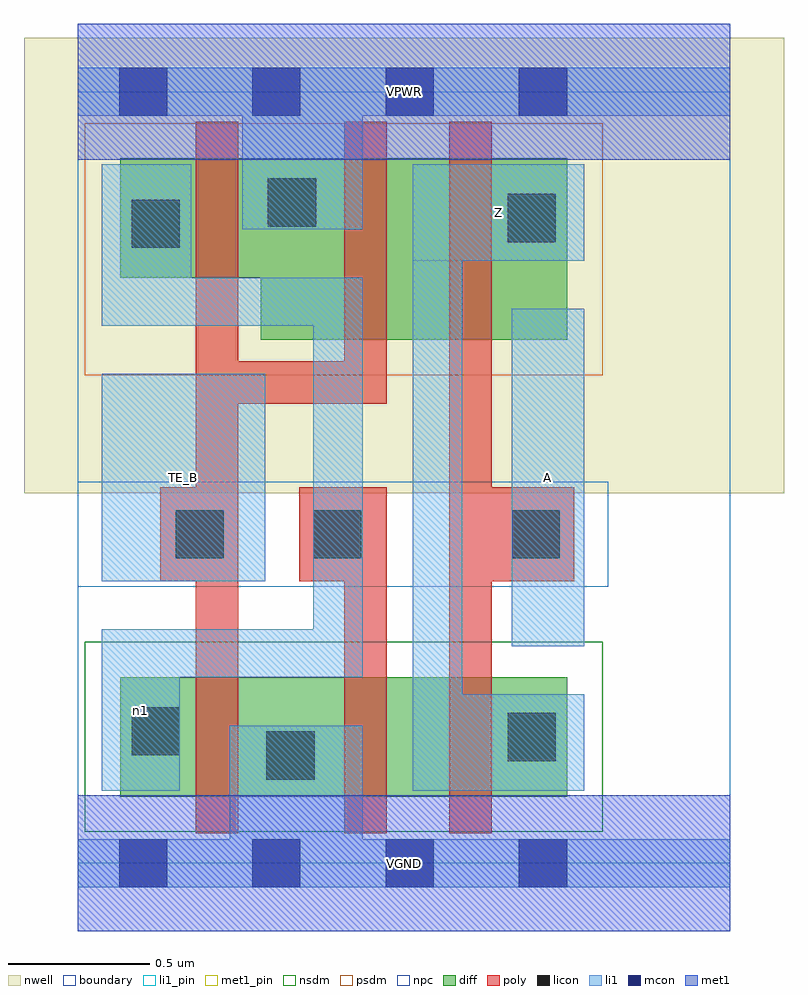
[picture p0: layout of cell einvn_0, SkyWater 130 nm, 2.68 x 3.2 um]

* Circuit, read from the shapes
.subckt einvn_0 A TE_B VGND VPWR Z n1
XM1 VGND TE_B n1 VSUBS sky130_fd_pr__nfet_01v8 w=0.42 l=0.15
XM2 n2 n1 VGND VSUBS sky130_fd_pr__nfet_01v8 w=0.42 l=0.15
XM3 Z A n2 VSUBS sky130_fd_pr__nfet_01v8 w=0.42 l=0.15
XM4 VPWR TE_B n1 n3 sky130_fd_pr__pfet_01v8 w=0.42 l=0.15
XM5 n4 TE_B VPWR n3 sky130_fd_pr__pfet_01v8 w=0.64 l=0.15
XM6 Z A n4 n3 sky130_fd_pr__pfet_01v8 w=0.64 l=0.15
.ends

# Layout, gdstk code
import gdstk
lib = gdstk.Library(unit=1e-6, precision=1e-09)
def R(c, l, rs):  # rectangles x0, y0, x1, y1
    for r in rs: c.add(gdstk.rectangle(r[:2], r[2:], *l))
def A(c, l, x, y, w, h, nx, ny, dx, dy):  # array of equal rectangles
    R(c, l, [(x+i*dx, y+j*dy, x+i*dx+w, y+j*dy+h) for i in range(nx) for j in range(ny)])
nwell = (64, 20)
diff = (65, 20)
poly = (66, 20)
licon = (66, 44)
li1_pin = (67, 16)
li1 = (67, 20)
mcon = (67, 44)
met1_pin = (68, 16)
met1 = (68, 20)
nsdm = (93, 44)
psdm = (94, 20)
npc = (95, 20)
boundary = (235, 4)

einvn_0 = lib.new_cell('einvn_0')
R(einvn_0, nwell, [(-0.19,1.305,2.49,2.91), (0,1.305,2.3,2.91)])
R(einvn_0, diff, [(0.15,0.235,1.725,0.655), (0.645,1.845,1.725,2.485), (0.15,2.065,1.725,2.485)])
R(einvn_0, poly, [(0.415,0.105,0.565,2.615), (0.94,0.105,1.09,1.325), (1.31,0.105,1.46,2.615), (0.29,0.995,0.565,1.325), (0.78,0.995,1.09,1.325), (1.31,0.995,1.75,1.325), (0.415,1.62,1.09,1.77), (0.94,1.62,1.09,2.615)])
R(einvn_0, licon, [(0.665,0.295,0.835,0.465), (1.515,0.36,1.685,0.53), (0.19,0.38,0.36,0.55), (0.345,1.075,0.515,1.245), (0.83,1.075,1,1.245), (1.53,1.075,1.7,1.245), (0.19,2.17,0.36,2.34), (1.515,2.19,1.685,2.36), (0.67,2.245,0.84,2.415)])
R(einvn_0, li1_pin, [(1.53,0.765,1.785,1.955), (0.085,0.995,0.66,1.725), (1.18,2.125,1.785,2.465)])
R(einvn_0, li1, [(0,-0.085,2.3,0.085), (0.535,-0.085,1.005,0.485), (0.085,0.255,0.36,0.825), (1.18,0.255,1.355,2.465), (1.18,0.255,1.785,0.595), (0.085,0.655,1.005,0.825), (0.83,0.655,1.005,2.065), (1.53,0.765,1.785,1.955), (0.085,0.995,0.66,1.725), (0.085,1.895,1.005,2.065), (0.085,1.895,0.4,2.465), (1.18,2.125,1.785,2.465), (0.58,2.235,1.005,2.805), (0,2.635,2.3,2.805)])
A(einvn_0, mcon, 0.145, -0.085, 0.17, 0.17, 4, 2, 0.47, 2.72)
R(einvn_0, met1_pin, [(0,-0.24,2.3,0.24), (0,2.48,2.3,2.96)])
R(einvn_0, met1, [(0,-0.24,2.3,0.24), (0,2.48,2.3,2.96)])
R(einvn_0, nsdm, [(0.025,0.11,1.85,0.78)])
R(einvn_0, psdm, [(0.025,1.72,1.85,2.61)])
R(einvn_0, npc, [(0,0.975,1.87,1.345)])
R(einvn_0, boundary, [(0,0,2.3,2.72)])
einvn_0.add(gdstk.Label('A', (1.657,1.36), layer=67, texttype=5))
einvn_0.add(gdstk.Label('TE_B', (0.372,1.36), layer=67, texttype=5))
einvn_0.add(gdstk.Label('Z', (1.482,2.295), layer=67, texttype=5))
einvn_0.add(gdstk.Label('n1', (0.222,0.54), layer=67, texttype=5))
einvn_0.add(gdstk.Label('VPWR', (1.15,2.72), layer=68, texttype=5))
einvn_0.add(gdstk.Label('VGND', (1.15,0), layer=68, texttype=5))
einvn_0.add(gdstk.Label('A', (1.657,1.36), layer=67, texttype=16))
einvn_0.add(gdstk.Label('TE_B', (0.372,1.36), layer=67, texttype=16))
einvn_0.add(gdstk.Label('Z', (1.482,2.295), layer=67, texttype=16))
einvn_0.add(gdstk.Label('VPWR', (1.15,2.72), layer=68, texttype=16))
einvn_0.add(gdstk.Label('VGND', (1.15,0), layer=68, texttype=16))

lib.write_gds('einvn_0.gds')
